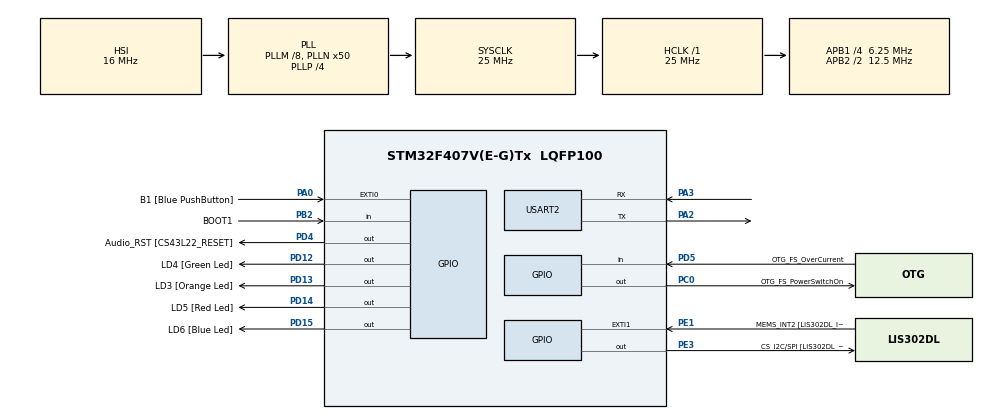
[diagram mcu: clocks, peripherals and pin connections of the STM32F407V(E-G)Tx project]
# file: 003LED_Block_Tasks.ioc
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Mcu.Family=STM32F4
Mcu.Name=STM32F407V(E-G)Tx
Mcu.Package=LQFP100
NVIC.PriorityGroup=NVIC_PRIORITYGROUP_4
NVIC.TIM6_DAC_IRQn=true\:0\:0\:false\:false\:true\:false\:true\:true
NVIC.TimeBase=TIM6_DAC_IRQn
NVIC.TimeBaseIP=TIM6
PA0-WKUP.GPIO_Label=B1 [Blue PushButton]
PA0-WKUP.Signal=GPXTI0
PA10.GPIO_Label=OTG_FS_ID
PA10.GPIO_Mode=GPIO_MODE_AF_PP
PA10.GPIO_PuPd=GPIO_NOPULL
PA10.GPIO_Speed=GPIO_SPEED_FREQ_LOW
PA10.Signal=USB_OTG_FS_ID
PA11.GPIO_Label=OTG_FS_DM
PA11.GPIO_Mode=GPIO_MODE_AF_PP
PA11.GPIO_PuPd=GPIO_NOPULL
PA11.GPIO_Speed=GPIO_SPEED_FREQ_LOW
PA11.Signal=USB_OTG_FS_DM
PA12.GPIO_Label=OTG_FS_DP
PA12.GPIO_Mode=GPIO_MODE_AF_PP
PA12.GPIO_PuPd=GPIO_NOPULL
PA12.GPIO_Speed=GPIO_SPEED_FREQ_LOW
PA12.Signal=USB_OTG_FS_DP
PA13.GPIO_Label=SWDIO
PA13.Signal=SYS_JTMS-SWDIO
PA14.GPIO_Label=SWCLK
PA14.Signal=SYS_JTCK-SWCLK
PA2.Mode=Asynchronous
PA2.Signal=USART2_TX
PA3.Mode=Asynchronous
PA3.Signal=USART2_RX
PA4.GPIO_Label=I2S3_WS [CS43L22_LRCK]
PA4.GPIO_Mode=GPIO_MODE_AF_PP
PA4.GPIO_PuPd=GPIO_NOPULL
PA4.GPIO_Speed=GPIO_SPEED_FREQ_LOW
PA4.Signal=I2S3_WS
PA5.GPIO_Label=SPI1_SCK [LIS302DL_SCL/SPC]
PA5.GPIO_Mode=GPIO_MODE_AF_PP
PA5.GPIO_PuPd=GPIO_NOPULL
PA5.GPIO_Speed=GPIO_SPEED_FREQ_LOW
PA5.Signal=SPI1_SCK
PA6.GPIO_Label=SPI1_MISO [LIS302DL_SDO]
PA6.GPIO_Mode=GPIO_MODE_AF_PP
PA6.GPIO_PuPd=GPIO_NOPULL
PA6.GPIO_Speed=GPIO_SPEED_FREQ_LOW
PA6.Signal=SPI1_MISO
PA7.GPIO_Label=SPI1_MOSI [LIS302DL_SDA/SDI/SDO]
PA7.GPIO_Mode=GPIO_MODE_AF_PP
PA7.GPIO_PuPd=GPIO_NOPULL
PA7.GPIO_Speed=GPIO_SPEED_FREQ_LOW
PA7.Signal=SPI1_MOSI
PA9.GPIO_Label=VBUS_FS
PA9.GPIO_Mode=GPIO_MODE_INPUT
PA9.GPIO_PuPd=GPIO_NOPULL
PA9.Signal=USB_OTG_FS_VBUS
PB10.GPIO_Label=CLK_IN [MP45DT02_CLK]
PB10.GPIO_Mode=GPIO_MODE_AF_PP
PB10.GPIO_PuPd=GPIO_NOPULL
PB10.GPIO_Speed=GPIO_SPEED_FREQ_LOW
PB10.Signal=I2S2_CK
PB2.GPIO_Label=BOOT1
PB2.GPIO_Mode=GPIO_MODE_INPUT
PB2.GPIO_PuPd=GPIO_NOPULL
PB2.Signal=GPIO_Input
PB3.GPIO_Label=SWO
PB3.Signal=SYS_JTDO-SWO
PB6.GPIO_Label=Audio_SCL [CS43L22_SCL]
PB6.GPIO_Mode=GPIO_MODE_AF_OD
PB6.GPIO_PuPd=GPIO_NOPULL
PB6.GPIO_Speed=GPIO_SPEED_FREQ_LOW
PB6.Signal=I2C1_SCL
PB9.GPIO_Label=Audio_SDA [CS43L22_SDA]
PB9.GPIO_Mode=GPIO_MODE_AF_OD
PB9.GPIO_PuPd=GPIO_NOPULL
PB9.GPIO_Speed=GPIO_SPEED_FREQ_LOW
PB9.Signal=I2C1_SDA
PC0.GPIO_Label=OTG_FS_PowerSwitchOn
PC0.GPIO_PuPd=GPIO_NOPULL
PC0.GPIO_Speed=GPIO_SPEED_FREQ_LOW
PC0.PinState=GPIO_PIN_SET
PC0.Signal=GPIO_Output
PC10.GPIO_Label=I2S3_SCK [CS43L22_SCLK]
PC10.GPIO_Mode=GPIO_MODE_AF_PP
PC10.GPIO_PuPd=GPIO_NOPULL
PC10.GPIO_Speed=GPIO_SPEED_FREQ_LOW
PC10.Signal=I2S3_CK
PC12.GPIO_Label=I2S3_SD [CS43L22_SDIN]
PC12.GPIO_Mode=GPIO_MODE_AF_PP
PC12.GPIO_PuPd=GPIO_NOPULL
PC12.GPIO_Speed=GPIO_SPEED_FREQ_LOW
PC12.Signal=I2S3_SD
PC14-OSC32_IN.GPIO_Label=PC14-OSC32_IN
PC14-OSC32_IN.Signal=RCC_OSC32_IN
PC15-OSC32_OUT.GPIO_Label=PC15-OSC32_OUT
PC15-OSC32_OUT.Signal=RCC_OSC32_OUT
PC3.GPIO_Label=PDM_OUT [MP45DT02_DOUT]
PC3.GPIO_Mode=GPIO_MODE_AF_PP
PC3.GPIO_PuPd=GPIO_NOPULL
PC3.GPIO_Speed=GPIO_SPEED_FREQ_LOW
PC3.Signal=I2S2_SD
PC7.GPIO_Label=I2S3_MCK [CS43L22_MCLK]
PC7.GPIO_Mode=GPIO_MODE_AF_PP
PC7.GPIO_PuPd=GPIO_NOPULL
PC7.GPIO_Speed=GPIO_SPEED_FREQ_LOW
PC7.Signal=I2S3_MCK
PD12.GPIO_Label=LD4 [Green Led]
PD12.GPIO_PuPd=GPIO_NOPULL
PD12.GPIO_Speed=GPIO_SPEED_FREQ_LOW
PD12.Signal=GPIO_Output
PD13.GPIO_Label=LD3 [Orange Led]
PD13.GPIO_PuPd=GPIO_NOPULL
PD13.GPIO_Speed=GPIO_SPEED_FREQ_LOW
PD13.Signal=GPIO_Output
PD14.GPIO_Label=LD5 [Red Led]
PD14.GPIO_PuPd=GPIO_NOPULL
PD14.GPIO_Speed=GPIO_SPEED_FREQ_LOW
PD14.Signal=GPIO_Output
PD15.GPIO_Label=LD6 [Blue Led]
PD15.GPIO_PuPd=GPIO_NOPULL
PD15.GPIO_Speed=GPIO_SPEED_FREQ_LOW
PD15.Signal=GPIO_Output
PD4.GPIO_Label=Audio_RST [CS43L22_RESET]
PD4.GPIO_PuPd=GPIO_NOPULL
PD4.GPIO_Speed=GPIO_SPEED_FREQ_LOW
PD4.Signal=GPIO_Output
PD5.GPIO_Label=OTG_FS_OverCurrent
PD5.GPIO_Mode=GPIO_MODE_INPUT
PD5.GPIO_PuPd=GPIO_NOPULL
PD5.Signal=GPIO_Input
PE1.GPIO_Label=MEMS_INT2 [LIS302DL_INT2]
PE1.GPIO_ModeDefaultEXTI=GPIO_MODE_EVT_RISING
PE1.GPIO_PuPd=GPIO_NOPULL
PE1.Signal=GPXTI1
PE3.GPIO_Label=CS_I2C/SPI [LIS302DL_CS_I2C/SPI]
PE3.GPIO_PuPd=GPIO_NOPULL
PE3.GPIO_Speed=GPIO_SPEED_FREQ_LOW
PE3.Signal=GPIO_Output
PH0-OSC_IN.GPIO_Label=PH0-OSC_IN
PH0-OSC_IN.Signal=RCC_OSC_IN
PH1-OSC_OUT.GPIO_Label=PH1-OSC_OUT
PH1-OSC_OUT.Signal=RCC_OSC_OUT
ProjectManager.HeapSize=0x200
ProjectManager.StackSize=0x400
ProjectManager.TargetToolchain=STM32CubeIDE
RCC.48MHZClocksFreq_Value=14285714.285714285
RCC.AHBFreq_Value=25000000
RCC.APB1CLKDivider=RCC_HCLK_DIV4
RCC.APB1Freq_Value=6250000
RCC.APB1TimFreq_Value=12500000
RCC.APB2CLKDivider=RCC_HCLK_DIV2
RCC.APB2Freq_Value=12500000
RCC.APB2TimFreq_Value=25000000
RCC.CortexFreq_Value=25000000
RCC.HCLKFreq_Value=25000000
RCC.HSE_VALUE=8000000
RCC.HSI_VALUE=16000000
RCC.LSE_VALUE=32768
RCC.PLLM=8
RCC.PLLN=50
RCC.PLLP=RCC_PLLP_DIV4
RCC.PLLQ=7
RCC.SYSCLKFreq_VALUE=25000000
RCC.SYSCLKSource=RCC_SYSCLKSOURCE_PLLCLK
RCC.VCOOutputFreq_Value=100000000
USART2.VirtualMode=VM_ASYNC
VP_SYS_VS_tim6.Mode=TIM6
board=STM32F407G-DISC1

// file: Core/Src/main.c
/* USER CODE BEGIN Header */
/**
  ******************************************************************************
  * @file           : main.c
  * @brief          : Main program body
  ******************************************************************************
  * @attention
  *
  * Copyright (c) 2024 STMicroelectronics.
  * All rights reserved.
  *
  * This software is licensed under terms that can be found in the LICENSE file
  * in the root directory of this software component.
  * If no LICENSE file comes with this software, it is provided AS-IS.
  *
  ******************************************************************************
  */
/* USER CODE END Header */
#include "main.h"

/* USER CODE BEGIN Includes */
#include "FreeRTOS.h"
#include "task.h"
#include <stdio.h>
/* USER CODE END Includes */

/* USER CODE BEGIN PM */
#define DWT_CTRL (*(volatile uint32_t*)0xE0001000)
/* USER CODE END PM */

UART_HandleTypeDef huart2;

void SystemClock_Config(void);
static void MX_GPIO_Init(void);
static void MX_USART2_UART_Init(void);
/* USER CODE BEGIN PFP */
static void led_green_handler(void* parameters);
static void led_orange_handler(void* parameters);
static void led_red_handler(void* parameters);

extern void SEGGER_UART_init(uint32_t);
/* USER CODE END PFP */

int main(void)
{
  /* USER CODE BEGIN 1 */
	TaskHandle_t task1_handle;
	TaskHandle_t task2_handle;
	TaskHandle_t task3_handle;
	BaseType_t status;
  /* USER CODE END 1 */

  /* MCU Configuration--------------------------------------------------------*/

  /* Reset of all peripherals, Initializes the Flash interface and the Systick. */
  HAL_Init();

  /* Configure the system clock */
  SystemClock_Config();

  /* Initialize all configured peripherals */
  MX_GPIO_Init();
  MX_USART2_UART_Init();
  /* USER CODE BEGIN 2 */

  SEGGER_UART_init(500000);

//  Cyclic count enable
  DWT_CTRL |=(1<<0);

  SEGGER_SYSVIEW_Conf();

//  task creation
  status = xTaskCreate(led_green_handler,
              "LED_green_task",
              200,
              NULL,
              2,
              &task1_handle
                            );

  configASSERT(status == pdPASS);

  status = xTaskCreate(led_red_handler,
                "LED_red_task",
                200,
                NULL,
                2,
                &task2_handle
                              );

    configASSERT(status == pdPASS);

  status = xTaskCreate(led_orange_handler,
                "LED_orange_task",
                200,
                NULL,
                2,
                &task3_handle
                              );

    configASSERT(status == pdPASS);

//    Start the scheduler

    vTaskStartScheduler();

  /* USER CODE END 2 */

  /* Infinite loop */
  while (1)
  {

  }
}

void SystemClock_Config(void)
{
  RCC_OscInitTypeDef RCC_OscInitStruct = {0};
  RCC_ClkInitTypeDef RCC_ClkInitStruct = {0};

  /** Configure the main internal regulator output voltage
  */
  __HAL_RCC_PWR_CLK_ENABLE();
  __HAL_PWR_VOLTAGESCALING_CONFIG(PWR_REGULATOR_VOLTAGE_SCALE1);

  /** Initializes the RCC Oscillators according to the specified parameters
  * in the RCC_OscInitTypeDef structure.
  */
  RCC_OscInitStruct.OscillatorType = RCC_OSCILLATORTYPE_HSI;
  RCC_OscInitStruct.HSIState = RCC_HSI_ON;
  RCC_OscInitStruct.HSICalibrationValue = RCC_HSICALIBRATION_DEFAULT;
  RCC_OscInitStruct.PLL.PLLState = RCC_PLL_ON;
  RCC_OscInitStruct.PLL.PLLSource = RCC_PLLSOURCE_HSI;
  RCC_OscInitStruct.PLL.PLLM = 8;
  RCC_OscInitStruct.PLL.PLLN = 50;
  RCC_OscInitStruct.PLL.PLLP = RCC_PLLP_DIV4;
  RCC_OscInitStruct.PLL.PLLQ = 7;
  if (HAL_RCC_OscConfig(&RCC_OscInitStruct) != HAL_OK)
  {
    Error_Handler();
  }

  /** Initializes the CPU, AHB and APB buses clocks
  */
  RCC_ClkInitStruct.ClockType = RCC_CLOCKTYPE_HCLK|RCC_CLOCKTYPE_SYSCLK
                              |RCC_CLOCKTYPE_PCLK1|RCC_CLOCKTYPE_PCLK2;
  RCC_ClkInitStruct.SYSCLKSource = RCC_SYSCLKSOURCE_PLLCLK;
  RCC_ClkInitStruct.AHBCLKDivider = RCC_SYSCLK_DIV1;
  RCC_ClkInitStruct.APB1CLKDivider = RCC_HCLK_DIV4;
  RCC_ClkInitStruct.APB2CLKDivider = RCC_HCLK_DIV2;

  if (HAL_RCC_ClockConfig(&RCC_ClkInitStruct, FLASH_LATENCY_0) != HAL_OK)
  {
    Error_Handler();
  }
}

static void MX_USART2_UART_Init(void)
{

  huart2.Instance = USART2;
  huart2.Init.BaudRate = 115200;
  huart2.Init.WordLength = UART_WORDLENGTH_8B;
  huart2.Init.StopBits = UART_STOPBITS_1;
  huart2.Init.Parity = UART_PARITY_NONE;
  huart2.Init.Mode = UART_MODE_TX_RX;
  huart2.Init.HwFlowCtl = UART_HWCONTROL_NONE;
  huart2.Init.OverSampling = UART_OVERSAMPLING_16;
  if (HAL_UART_Init(&huart2) != HAL_OK)
  {
    Error_Handler();
  }

}

static void MX_GPIO_Init(void)
{
  GPIO_InitTypeDef GPIO_InitStruct = {0};

  /* GPIO Ports Clock Enable */
  __HAL_RCC_GPIOE_CLK_ENABLE();
  __HAL_RCC_GPIOC_CLK_ENABLE();
  __HAL_RCC_GPIOH_CLK_ENABLE();
  __HAL_RCC_GPIOA_CLK_ENABLE();
  __HAL_RCC_GPIOB_CLK_ENABLE();
  __HAL_RCC_GPIOD_CLK_ENABLE();

  /*Configure GPIO pin Output Level */
  HAL_GPIO_WritePin(CS_I2C_SPI_GPIO_Port, CS_I2C_SPI_Pin, GPIO_PIN_RESET);

  /*Configure GPIO pin Output Level */
  HAL_GPIO_WritePin(OTG_FS_PowerSwitchOn_GPIO_Port, OTG_FS_PowerSwitchOn_Pin, GPIO_PIN_SET);

  /*Configure GPIO pin Output Level */
  HAL_GPIO_WritePin(GPIOD, LD4_Pin|LD3_Pin|LD5_Pin|LD6_Pin
                          |Audio_RST_Pin, GPIO_PIN_RESET);

  /*Configure GPIO pin : CS_I2C_SPI_Pin */
  GPIO_InitStruct.Pin = CS_I2C_SPI_Pin;
  GPIO_InitStruct.Mode = GPIO_MODE_OUTPUT_PP;
  GPIO_InitStruct.Pull = GPIO_NOPULL;
  GPIO_InitStruct.Speed = GPIO_SPEED_FREQ_LOW;
  HAL_GPIO_Init(CS_I2C_SPI_GPIO_Port, &GPIO_InitStruct);

  /*Configure GPIO pin : OTG_FS_PowerSwitchOn_Pin */
  GPIO_InitStruct.Pin = OTG_FS_PowerSwitchOn_Pin;
  GPIO_InitStruct.Mode = GPIO_MODE_OUTPUT_PP;
  GPIO_InitStruct.Pull = GPIO_NOPULL;
  GPIO_InitStruct.Speed = GPIO_SPEED_FREQ_LOW;
  HAL_GPIO_Init(OTG_FS_PowerSwitchOn_GPIO_Port, &GPIO_InitStruct);

  /*Configure GPIO pin : PDM_OUT_Pin */
  GPIO_InitStruct.Pin = PDM_OUT_Pin;
  GPIO_InitStruct.Mode = GPIO_MODE_AF_PP;
  GPIO_InitStruct.Pull = GPIO_NOPULL;
  GPIO_InitStruct.Speed = GPIO_SPEED_FREQ_LOW;
  GPIO_InitStruct.Alternate = GPIO_AF5_SPI2;
  HAL_GPIO_Init(PDM_OUT_GPIO_Port, &GPIO_InitStruct);

  /*Configure GPIO pin : B1_Pin */
  GPIO_InitStruct.Pin = B1_Pin;
  GPIO_InitStruct.Mode = GPIO_MODE_IT_RISING;
  GPIO_InitStruct.Pull = GPIO_NOPULL;
  HAL_GPIO_Init(B1_GPIO_Port, &GPIO_InitStruct);

  /*Configure GPIO pin : I2S3_WS_Pin */
  GPIO_InitStruct.Pin = I2S3_WS_Pin;
  GPIO_InitStruct.Mode = GPIO_MODE_AF_PP;
  GPIO_InitStruct.Pull = GPIO_NOPULL;
  GPIO_InitStruct.Speed = GPIO_SPEED_FREQ_LOW;
  GPIO_InitStruct.Alternate = GPIO_AF6_SPI3;
  HAL_GPIO_Init(I2S3_WS_GPIO_Port, &GPIO_InitStruct);

  /*Configure GPIO pins : SPI1_SCK_Pin SPI1_MISO_Pin SPI1_MOSI_Pin */
  GPIO_InitStruct.Pin = SPI1_SCK_Pin|SPI1_MISO_Pin|SPI1_MOSI_Pin;
  GPIO_InitStruct.Mode = GPIO_MODE_AF_PP;
  GPIO_InitStruct.Pull = GPIO_NOPULL;
  GPIO_InitStruct.Speed = GPIO_SPEED_FREQ_LOW;
  GPIO_InitStruct.Alternate = GPIO_AF5_SPI1;
  HAL_GPIO_Init(GPIOA, &GPIO_InitStruct);

  /*Configure GPIO pin : BOOT1_Pin */
  GPIO_InitStruct.Pin = BOOT1_Pin;
  GPIO_InitStruct.Mode = GPIO_MODE_INPUT;
  GPIO_InitStruct.Pull = GPIO_NOPULL;
  HAL_GPIO_Init(BOOT1_GPIO_Port, &GPIO_InitStruct);

  /*Configure GPIO pin : CLK_IN_Pin */
  GPIO_InitStruct.Pin = CLK_IN_Pin;
  GPIO_InitStruct.Mode = GPIO_MODE_AF_PP;
  GPIO_InitStruct.Pull = GPIO_NOPULL;
  GPIO_InitStruct.Speed = GPIO_SPEED_FREQ_LOW;
  GPIO_InitStruct.Alternate = GPIO_AF5_SPI2;
  HAL_GPIO_Init(CLK_IN_GPIO_Port, &GPIO_InitStruct);

  /*Configure GPIO pins : LD4_Pin LD3_Pin LD5_Pin LD6_Pin
                           Audio_RST_Pin */
  GPIO_InitStruct.Pin = LD4_Pin|LD3_Pin|LD5_Pin|LD6_Pin
                          |Audio_RST_Pin;
  GPIO_InitStruct.Mode = GPIO_MODE_OUTPUT_PP;
  GPIO_InitStruct.Pull = GPIO_NOPULL;
  GPIO_InitStruct.Speed = GPIO_SPEED_FREQ_LOW;
  HAL_GPIO_Init(GPIOD, &GPIO_InitStruct);

  /*Configure GPIO pins : I2S3_MCK_Pin I2S3_SCK_Pin I2S3_SD_Pin */
  GPIO_InitStruct.Pin = I2S3_MCK_Pin|I2S3_SCK_Pin|I2S3_SD_Pin;
  GPIO_InitStruct.Mode = GPIO_MODE_AF_PP;
  GPIO_InitStruct.Pull = GPIO_NOPULL;
  GPIO_InitStruct.Speed = GPIO_SPEED_FREQ_LOW;
  GPIO_InitStruct.Alternate = GPIO_AF6_SPI3;
  HAL_GPIO_Init(GPIOC, &GPIO_InitStruct);

  /*Configure GPIO pin : VBUS_FS_Pin */
  GPIO_InitStruct.Pin = VBUS_FS_Pin;
  GPIO_InitStruct.Mode = GPIO_MODE_INPUT;
  GPIO_InitStruct.Pull = GPIO_NOPULL;
  HAL_GPIO_Init(VBUS_FS_GPIO_Port, &GPIO_InitStruct);

  /*Configure GPIO pins : OTG_FS_ID_Pin OTG_FS_DM_Pin OTG_FS_DP_Pin */
  GPIO_InitStruct.Pin = OTG_FS_ID_Pin|OTG_FS_DM_Pin|OTG_FS_DP_Pin;
  GPIO_InitStruct.Mode = GPIO_MODE_AF_PP;
  GPIO_InitStruct.Pull = GPIO_NOPULL;
  GPIO_InitStruct.Speed = GPIO_SPEED_FREQ_LOW;
  GPIO_InitStruct.Alternate = GPIO_AF10_OTG_FS;
  HAL_GPIO_Init(GPIOA, &GPIO_InitStruct);

  /*Configure GPIO pin : OTG_FS_OverCurrent_Pin */
  GPIO_InitStruct.Pin = OTG_FS_OverCurrent_Pin;
  GPIO_InitStruct.Mode = GPIO_MODE_INPUT;
  GPIO_InitStruct.Pull = GPIO_NOPULL;
  HAL_GPIO_Init(OTG_FS_OverCurrent_GPIO_Port, &GPIO_InitStruct);

  /*Configure GPIO pins : Audio_SCL_Pin Audio_SDA_Pin */
  GPIO_InitStruct.Pin = Audio_SCL_Pin|Audio_SDA_Pin;
  GPIO_InitStruct.Mode = GPIO_MODE_AF_OD;
  GPIO_InitStruct.Pull = GPIO_NOPULL;
  GPIO_InitStruct.Speed = GPIO_SPEED_FREQ_LOW;
  GPIO_InitStruct.Alternate = GPIO_AF4_I2C1;
  HAL_GPIO_Init(GPIOB, &GPIO_InitStruct);

  /*Configure GPIO pin : MEMS_INT2_Pin */
  GPIO_InitStruct.Pin = MEMS_INT2_Pin;
  GPIO_InitStruct.Mode = GPIO_MODE_EVT_RISING;
  GPIO_InitStruct.Pull = GPIO_NOPULL;
  HAL_GPIO_Init(MEMS_INT2_GPIO_Port, &GPIO_InitStruct);

}

/* USER CODE BEGIN 4 */

static void led_green_handler(void* parameters)
{
	TickType_t last_wakeup_time;

	last_wakeup_time=xTaskGetTickCount();

	while(1)
	{
		SEGGER_SYSVIEW_PrintfTarget("Toggling green led");
		HAL_GPIO_TogglePin(GPIOD, LED_GREEN_PIN);
		vTaskDelayUntil(&last_wakeup_time, pdMS_TO_TICKS(1000));
	}
}

static void led_orange_handler(void* parameters)
{
	TickType_t last_wakeup_time;

	last_wakeup_time=xTaskGetTickCount();
	while(1)
	{
		SEGGER_SYSVIEW_PrintfTarget("Toggling orange led");
		HAL_GPIO_TogglePin(GPIOD, LED_ORANGE_PIN);
		vTaskDelayUntil(&last_wakeup_time, pdMS_TO_TICKS(800));
	}

}

static void led_red_handler(void* parameters)
{
	TickType_t last_wakeup_time;

	last_wakeup_time=xTaskGetTickCount();
	while(1)
	{
		SEGGER_SYSVIEW_PrintfTarget("Toggling red led");
		HAL_GPIO_TogglePin(GPIOD, LED_RED_PIN);
		vTaskDelayUntil(&last_wakeup_time, pdMS_TO_TICKS(400));
	}

}

void vApplicationIdleHook( void )
{
	HAL_PWR_EnterSLEEPMode(PWR_MAINREGULATOR_ON , PWR_SLEEPENTRY_WFI);
}
/* USER CODE END 4 */

void HAL_TIM_PeriodElapsedCallback(TIM_HandleTypeDef *htim)
{
  if (htim->Instance == TIM6) {
    HAL_IncTick();
  }
}

void Error_Handler(void)
{
  __disable_irq();
  while (1)
  {
  }
}
